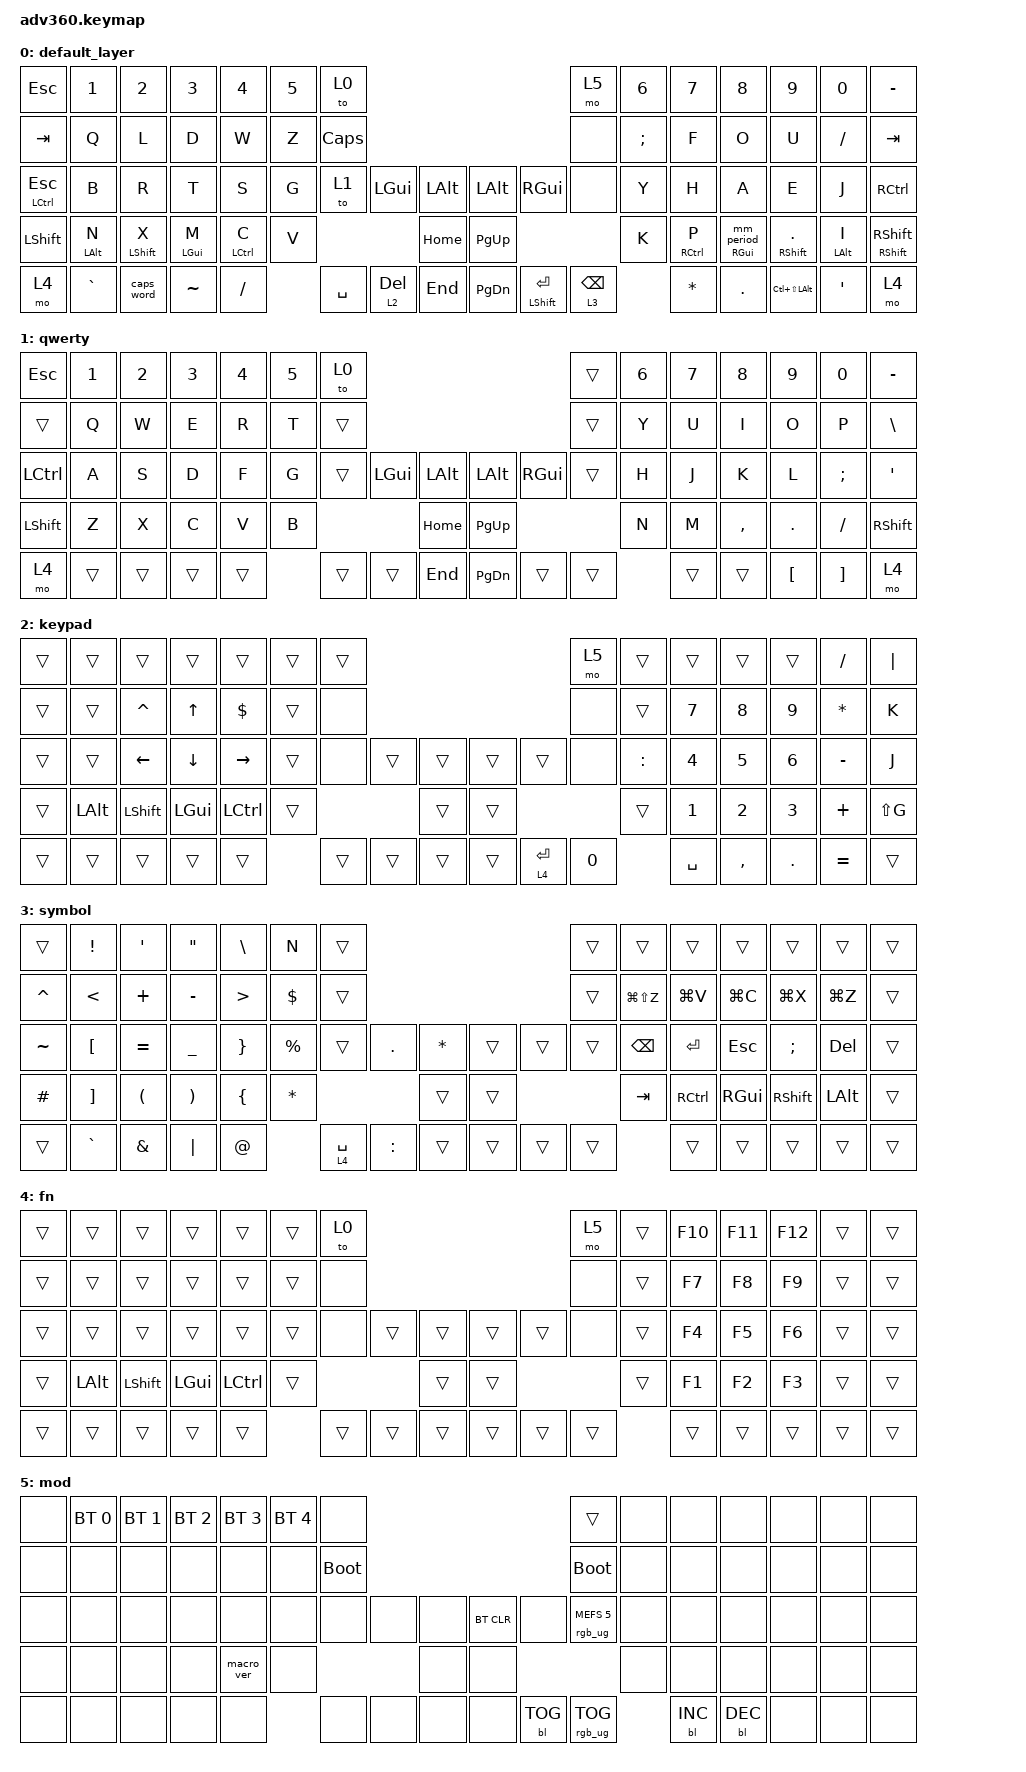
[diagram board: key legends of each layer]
#include <behaviors.dtsi>
#include <dt-bindings/zmk/backlight.h>
#include <dt-bindings/zmk/bt.h>
#include <dt-bindings/zmk/keys.h>
#include <dt-bindings/zmk/rgb.h>

&lt {
    quick-tap-ms = <175>;
    flavor = "hold-preferred";
};

&sk { quick-release; };

/ {
    behaviors {
        #include "macros.dtsi"
      #include "version.dtsi"
      #ifndef VERSION_MACRO

        macro_ver: macro_ver {
            compatible = "zmk,behavior-macro";
            label = "macro_version";
            #binding-cells = <0>;
            bindings = <&kp RET>;
        };

        #endif

        hml: hml {
            compatible = "zmk,behavior-hold-tap";
            label = "HML";
            #binding-cells = <2>;
            tapping-term-ms = <200>;
            flavor = "balanced";
            bindings = <&kp>, <&kp>;

            quick-tap-ms = <175>;
            require-prior-idle-ms = <150>;
            hold-trigger-key-positions = <22 23 24 25 26 40 41 42 43 44 54 55 56 57 58 70 69 66 65 8 9 10 11 12 71 72 73 74 13 27 45 59>;
            hold-trigger-on-release;
        };

        hmr: hmr {
            compatible = "zmk,behavior-hold-tap";
            label = "HMR";
            bindings = <&kp>, <&kp>;

            #binding-cells = <2>;
            tapping-term-ms = <200>;
            quick-tap-ms = <175>;
            require-prior-idle-ms = <150>;
            flavor = "balanced";
            hold-trigger-key-positions = <15 16 17 18 19 29 30 31 32 33 47 48 49 50 51 66 65 69 70 1 2 3 4 5 0 14 28 46 61 62 63 64>;
            hold-trigger-on-release;
        };

        sk_shift: sk_shift {
            compatible = "zmk,behavior-hold-tap";
            label = "SK_SHIFT";
            bindings = <&kp>, <&sk>;

            #binding-cells = <2>;
            tapping-term-ms = <200>;
            flavor = "hold-preferred";
            quick-tap-ms = <175>;
        };

        as: autoshift {
            compatible = "zmk,behavior-hold-tap";
            label = "AUTOSHIFT";
            bindings = <&kp>, <&kp>;

            #binding-cells = <2>;
            tapping-term-ms = <135>;
            flavor = "tap-preferred";
        };

        hml_shift: hml_shift {
            compatible = "zmk,behavior-hold-tap";
            label = "HML_SHIFT";
            #binding-cells = <2>;
            tapping-term-ms = <150>;
            flavor = "hold-preferred";
            bindings = <&kp>, <&kp>;

            quick-tap-ms = <175>;
            hold-trigger-key-positions = <22 23 24 25 26 40 41 42 43 44 54 55 56 57 58 8 9 10 11 12 71 72 73 74 13 27 45 59 69>;
            require-prior-idle-ms = <100>;
        };

        hmr_shift: hmr_shift {
            compatible = "zmk,behavior-hold-tap";
            label = "HMR_SHIFT";
            bindings = <&kp>, <&mm_comma>;

            #binding-cells = <2>;
            tapping-term-ms = <150>;
            quick-tap-ms = <175>;
            flavor = "hold-preferred";
            hold-trigger-key-positions = <15 16 17 18 19 29 30 31 32 33 47 48 49 50 51 1 2 3 4 5 0 14 28 46 61 62 63 64>;
            require-prior-idle-ms = <100>;
        };

        mm_comma: mm_comma {
            compatible = "zmk,behavior-mod-morph";
            label = "MM_COMMA";
            bindings = <&kp COMMA>, <&kp GREATER_THAN>;

            #binding-cells = <0>;
            mods = <(MOD_LSFT)>;
        };

        mm_period: mm_period {
            compatible = "zmk,behavior-mod-morph";
            label = "MM_PERIOD";
            bindings = <&kp DOT>, <&kp LESS_THAN>;

            #binding-cells = <0>;
            mods = <(MOD_LSFT)>;
        };

        hmr_mm: hmr_mm {
            compatible = "zmk,behavior-hold-tap";
            label = "HMR_MM";
            bindings = <&kp>, <&mm_period>;

            #binding-cells = <2>;
            tapping-term-ms = <200>;
            quick-tap-ms = <175>;
            require-prior-idle-ms = <150>;
            flavor = "balanced";
            hold-trigger-key-positions = <15 16 17 18 19 29 30 31 32 33 47 48 49 50 51 66 65 69 70 1 2 3 4 5 0 14 28 46 61 62 63 64>;
            hold-trigger-on-release;
        };
    };

    macros {
    };

    keymap {
        compatible = "zmk,keymap";

        default_layer {
            bindings = <
&kp ESC         &kp N1           &kp N2                   &kp N3           &kp N4        &kp N5  &to 0                                                                      &mo 5            &kp N6    &kp N7        &kp N8               &kp N9                         &kp N0           &kp MINUS
&kp TAB         &kp Q            &kp L                    &kp D            &kp W         &kp Z   &kp CAPS                                                                   &none            &kp SEMI  &kp F         &kp O                &kp U                          &kp SLASH        &kp TAB
&mt LCTRL ESC   &kp B            &kp R                    &kp T            &kp S         &kp G   &to 1      &kp LGUI      &kp LEFT_ALT      &kp LEFT_ALT  &kp RIGHT_GUI     &none            &kp Y     &kp H         &kp A                &kp E                          &kp J            &kp RCTRL
&kp LEFT_SHIFT  &hml LEFT_ALT N  &hml_shift LEFT_SHIFT X  &hml LEFT_GUI M  &hml LCTRL C  &kp V                            &kp HOME          &kp PG_UP                                        &kp K     &hmr RCTRL P  &hmr_mm RIGHT_GUI 0  &hmr_shift RIGHT_SHIFT PERIOD  &hmr LEFT_ALT I  &sk_shift RIGHT_SHIFT RIGHT_SHIFT
&mo 4           &kp GRAVE        &caps_word               &kp TILDE        &kp SLASH             &kp SPACE  &lt 2 DELETE  &kp END           &kp PG_DN     &mt LSHIFT ENTER  &lt 3 BACKSPACE            &kp ASTERISK  &kp PERIOD           &kp LC(LS(LEFT_ALT))           &kp SQT          &mo 4
            >;
        };

        qwerty {
            bindings = <
&kp ESC         &kp N1  &kp N2  &kp N3  &kp N4  &kp N5  &to 0                                                &trans  &kp N6  &kp N7  &kp N8     &kp N9    &kp N0    &kp MINUS
&trans          &kp Q   &kp W   &kp E   &kp R   &kp T   &trans                                               &trans  &kp Y   &kp U   &kp I      &kp O     &kp P     &kp BSLH
&kp LCTRL       &kp A   &kp S   &kp D   &kp F   &kp G   &trans  &kp LGUI  &kp LALT      &kp LALT   &kp RGUI  &trans  &kp H   &kp J   &kp K      &kp L     &kp SEMI  &kp APOS
&kp LEFT_SHIFT  &kp Z   &kp X   &kp C   &kp V   &kp B                     &kp HOME      &kp PG_UP                    &kp N   &kp M   &kp COMMA  &kp DOT   &kp FSLH  &kp RSHFT
&mo 4           &trans  &trans  &trans  &trans          &trans  &trans    &kp END       &kp PG_DN  &trans    &trans          &trans  &trans     &kp LBKT  &kp RBKT  &mo 4
            >;
        };

        keypad {
            bindings = <
&trans  &trans        &trans          &trans        &trans      &trans  &trans                                           &mo 5   &trans     &trans     &trans     &trans      &kp SLASH     &kp PIPE
&trans  &trans        &kp CARET       &kp UP        &kp DOLLAR  &trans  &none                                            &none   &trans     &kp N7     &kp N8     &kp N9      &kp ASTERISK  &kp K
&trans  &trans        &kp LEFT        &kp DOWN      &kp RIGHT   &trans  &none   &trans  &trans      &trans  &trans       &none   &kp COLON  &kp N4     &kp N5     &kp N6      &kp MINUS     &kp J
&trans  &kp LEFT_ALT  &kp LEFT_SHIFT  &kp LEFT_GUI  &kp LCTRL   &trans                  &trans      &trans                       &trans     &kp N1     &kp N2     &kp N3      &kp PLUS      &kp LS(G)
&trans  &trans        &trans          &trans        &trans              &trans  &trans  &trans      &trans  &lt 4 ENTER  &kp N0             &kp SPACE  &kp COMMA  &kp PERIOD  &kp EQUAL     &trans
            >;
        };

        symbol {
            bindings = <
&trans     &kp EXCLAMATION    &kp SINGLE_QUOTE      &kp DOUBLE_QUOTES      &kp BSLH          &kp N         &trans                                                    &trans  &trans         &trans     &trans         &trans           &trans        &trans
&kp CARET  &kp LESS_THAN      &kp PLUS              &kp MINUS              &kp GREATER_THAN  &kp DOLLAR    &trans                                                    &trans  &kp LG(LS(Z))  &kp LG(V)  &kp LG(C)      &kp LG(X)        &kp LG(Z)     &trans
&kp TILDE  &kp LEFT_BRACKET   &kp EQUAL             &kp UNDERSCORE         &kp RIGHT_BRACE   &kp PERCENT   &trans       &kp DOT    &kp ASTERISK      &trans  &trans  &trans  &kp BSPC       &kp RET    &kp ESC        &kp SEMI         &kp DEL       &trans
&kp POUND  &kp RIGHT_BRACKET  &kp LEFT_PARENTHESIS  &kp RIGHT_PARENTHESIS  &kp LEFT_BRACE    &kp ASTERISK                          &trans            &trans                  &kp TAB        &kp RCTRL  &kp RIGHT_GUI  &kp RIGHT_SHIFT  &kp LEFT_ALT  &trans
&trans     &kp GRAVE          &kp AMPERSAND         &kp PIPE               &kp AT_SIGN                     &lt 4 SPACE  &kp COLON  &trans            &trans  &trans  &trans                 &trans     &trans         &trans           &trans        &trans
            >;
        };

        fn {
            bindings = <
&trans  &trans        &trans          &trans        &trans     &trans  &to 0                                       &mo 5   &trans  &kp F10  &kp F11  &kp F12  &trans  &trans
&trans  &trans        &trans          &trans        &trans     &trans  &none                                       &none   &trans  &kp F7   &kp F8   &kp F9   &trans  &trans
&trans  &trans        &trans          &trans        &trans     &trans  &none   &trans  &trans      &trans  &trans  &none   &trans  &kp F4   &kp F5   &kp F6   &trans  &trans
&trans  &kp LEFT_ALT  &kp LEFT_SHIFT  &kp LEFT_GUI  &kp LCTRL  &trans                  &trans      &trans                  &trans  &kp F1   &kp F2   &kp F3   &trans  &trans
&trans  &trans        &trans          &trans        &trans             &trans  &trans  &trans      &trans  &trans  &trans          &trans   &trans   &trans   &trans  &trans
            >;
        };

        mod {
            bindings = <
&none  &bt BT_SEL 0  &bt BT_SEL 1  &bt BT_SEL 2  &bt BT_SEL 3  &bt BT_SEL 4  &none                                                  &trans                  &none  &none       &none       &none  &none  &none
&none  &none         &none         &none         &none         &none         &bootloader                                            &bootloader             &none  &none       &none       &none  &none  &none
&none  &none         &none         &none         &none         &none         &none        &none  &none      &bt BT_CLR  &none       &rgb_ug RGB_MEFS_CMD 5  &none  &none       &none       &none  &none  &none
&none  &none         &none         &none         &macro_ver    &none                             &none      &none                                           &none  &none       &none       &none  &none  &none
&none  &none         &none         &none         &none                       &none        &none  &none      &none       &bl BL_TOG  &rgb_ug RGB_TOG                &bl BL_INC  &bl BL_DEC  &none  &none  &none
            >;
        };
    };
};
